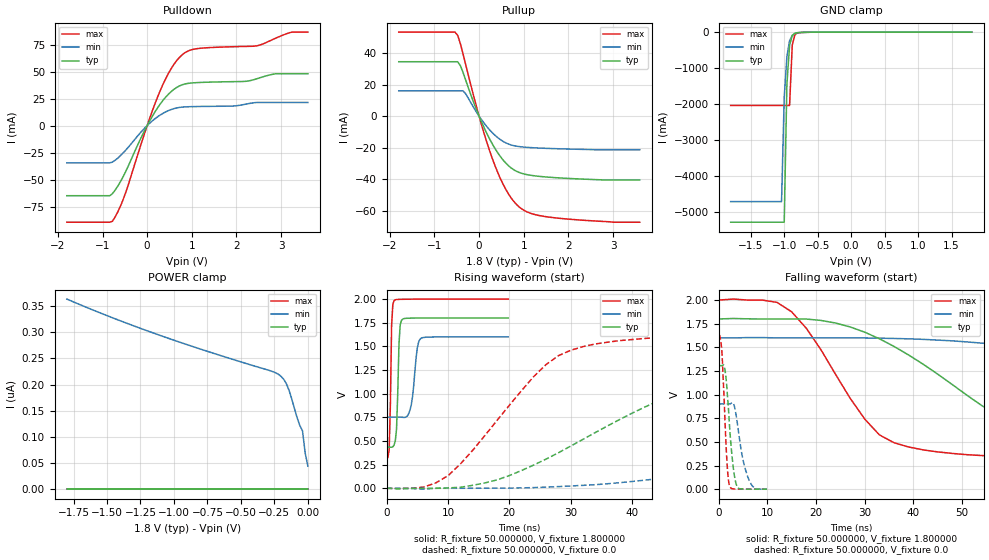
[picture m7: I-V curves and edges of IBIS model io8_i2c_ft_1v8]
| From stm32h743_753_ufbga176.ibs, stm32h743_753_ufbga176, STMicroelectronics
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|   Model io8_i2c_ft_1v8
[Model]  io8_i2c_ft_1v8
Model_type I/O
Polarity   Non-Inverting
Enable   Active-Low
Vinl =   0.540000V
Vinh =   1.260000V
Vmeas =  0.900000V
Cref =   30.000000pF
Rref =   100.000000M
Vref =   0.0V
C_comp   3.152500pF   3.122000pF   3.238300pF
[Temperature Range]   25.000000   0.140000k   -40.000000
[Pullup Reference]   1.800000V   1.600000V   2.000000V
[Pulldown Reference]   0.0V   0.0V   0.0V
[POWER Clamp Reference]   1.800000V   1.600000V   2.000000V
[GND Clamp Reference]   0.0V   0.0V   0.0V
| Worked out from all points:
|   slope of the pulldown table from 0 to 0.27 V, typ, clamps not added: 14.5 ohm
|   slope of the pullup table from 0 to 0.27 V, typ, clamps not added: 16.7 ohm
|   GND clamp passes 1 mA (typ) near -0.49 V on its own axis
|   rising waveform, R_fixture 50.000000, V_fixture 1.800000: 20-80 % time 358ps typ, 786ps min, 284ps max; typ from 0.436 V to 1.8 V
|   rising waveform, R_fixture 50.000000, V_fixture 0.0: 20-80 % time 24.9ns typ, 61.8ns min, 12.9ns max; typ from 0 V to 1.31 V
|   falling waveform, R_fixture 50.000000, V_fixture 1.800000: 20-80 % time 25.4ns typ, 70.2ns min, 13.2ns max; typ from 1.8 V to 0.436 V
|   falling waveform, R_fixture 50.000000, V_fixture 0.0: 20-80 % time 1.2ns typ, 1.89ns min, 847ps max; typ from 1.31 V to 0 V
[Pulldown]
|Voltage   I(typ)   I(min)   I(max)
-1.8V     -64.86mA   -34.49mA   -89.34mA
-780mV    -63.02mA   -33.74mA   -88.51mA
-540mV    -47.38mA   -25.35mA   -68.57mA
-60mV     -4.803mA   -2.495mA   -7.416mA
300mV     20.37mA    10mA       33.08mA
540mV     31.54mA    14.9mA     52.85mA
780mV     37.68mA    17.08mA    65.31mA
1.14V     39.81mA    17.65mA    71.28mA
2.46V     43.35mA    21.39mA    73.82mA
2.88V     47.93mA    21.39mA    80.87mA
3.24V     47.93mA    21.39mA    86.47mA
3.6V      47.93mA    21.39mA    86.49mA
[Pullup]
|Voltage   I(typ)   I(min)   I(max)
-1.8V     34.41mA    16.05mA    53.15mA
-540mV    34.41mA    16.05mA    53.15mA
-480mV    34.41mA    16.05mA    51.07mA
-420mV    31.99mA    16.05mA    45.88mA
-300mV    22.77mA    14.12mA    32.55mA
0V        12.67pA    1.342nA    8.3pA
300mV     -17.72mA   -10.55mA   -27.05mA
600mV     -29.7mA    -16.89mA   -46.35mA
900mV     -35.59mA   -19.22mA   -57.4mA
1.14V     -37.28mA   -19.83mA   -61.24mA
1.62V     -38.69mA   -20.44mA   -63.98mA
3.6V      -40.3mA    -21.2mA    -67mA
[GND_clamp]
|Voltage   I(typ)   I(min)   I(max)
-1.8V     -5.279A    -4.707A    -2.038A
-1.04V    -5.279A    -4.707A    -2.038A
-1V       -5.279A    -1.816A    -2.038A
-960mV    -1.443A    -671.6mA   -2.038A
-920mV    -368.1mA   -241.4mA   -2.038A
-880mV    -95.78mA   -89.36mA   -359.4mA
-840mV    -32.05mA   -36.9mA    -67.6mA
-800mV    -16.14mA   -18.39mA   -21.96mA
-760mV    -10.94mA   -11.34mA   -13.1mA
-520mV    -1.549mA   -2.044mA   -1.468mA
1.8V      0A         -17.91nA   0A
[POWER_clamp]
|Voltage   I(typ)   I(min)   I(max)
-1.8V     0A         363.4nA    0A
-1.16V    0A         299.1nA    0A
-280mV    0A         226.3nA    0A
-220mV    0A         219.5nA    0A
-180mV    0A         209.9nA    0A
-160mV    0A         201.2nA    0A
-140mV    0A         188.6nA    0A
-80mV     0A         136.4nA    0A
-60mV     0A         121.7nA    0A
-40mV     0A         111.5nA    0A
-20mV     0A         69.03nA    0A
0V        0A         44.01nA    0A
[Ramp]
| variable   typ   min   max
dV/dt_r  0.78396/24.78046n   0.52850/62.05318n   0.97590/12.88179n
dV/dt_f  0.81855/25.16888n   0.50120/70.39639n   1.01516/13.09236n
R_load = 50.000000
[Rising Waveform]
R_fixture= 50.000000
V_fixture= 1.800000
V_fixture_min= 1.600000
V_fixture_max= 2.000000
|time   V(typ)   V(min)   V(max)
0s        435.7mV    752.2mV    308.4mV
400.4ps   435.6mV    752.2mV    405.5mV
800.8ps   433.8mV    752.2mV    1.72V
1.201ns   457mV      752.2mV    1.983V
1.602ns   620.9mV    752.3mV    1.995V
2.002ns   1.523V     752.2mV    1.997V
2.402ns   1.774V     751.1mV    1.997V
4.004ns   1.798V     879.8mV    1.999V
5.606ns   1.8V       1.586V     1.999V
19.82ns   1.8V       1.6V       2V
[Rising Waveform]
R_fixture= 50.000000
V_fixture= 0.0
V_fixture_min= 0.0
V_fixture_max= 0.0
|time   V(typ)   V(min)   V(max)
0s        19.06nV    772.4nV    32.91uV
6.006ns   -372.4uV   -9.482mV   12.53mV
10.01ns   3.766mV    -130.5uV   133.3mV
18.02ns   89.06mV    1.14mV     719.2mV
26.03ns   309.7mV    11.86mV    1.31V
38.04ns   728.4mV    59.44mV    1.561V
54.05ns   1.128V     183.5mV    1.614V
74.07ns   1.258V     385.6mV    1.626V
128.1ns   1.304V     780.2mV    1.629V
198.2ns   1.307V     901.1mV    1.629V
[Falling Waveform]
R_fixture= 50.000000
V_fixture= 1.800000
V_fixture_min= 1.600000
V_fixture_max= 2.000000
|time   V(typ)   V(min)   V(max)
0s        1.8V       1.6V       2V
12.01ns   1.8V       1.6V       1.975V
15.02ns   1.8V       1.6V       1.875V
33.03ns   1.591V     1.597V     574mV
45.05ns   1.215V     1.577V     393.9mV
60.06ns   721.4mV    1.517V     341.4mV
84.08ns   523.5mV    1.346V     317.6mV
120.1ns   461.7mV    1.034V     310mV
156.2ns   444.8mV    882.9mV    308.6mV
297.3ns   435.7mV    752.2mV    308.4mV
[Falling Waveform]
R_fixture= 50.000000
V_fixture= 0.0
V_fixture_min= 0.0
V_fixture_max= 0.0
|time   V(typ)   V(min)   V(max)
0s        1.307V     901.1mV    1.629V
700.7ps   1.308V     901.1mV    1.433V
1.301ns   1.263V     901.1mV    734.7mV
1.802ns   999.6mV    901.1mV    221mV
2.202ns   699mV      900.9mV    44.82mV
3.103ns   192.7mV    901mV      2.683mV
3.904ns   17.45mV    675.8mV    1.074mV
5.005ns   1.576mV    311.8mV    544.3uV
6.406ns   470.1uV    78.25mV    280.6uV
9.91ns    19.06nV    772.4nV    32.91uV
